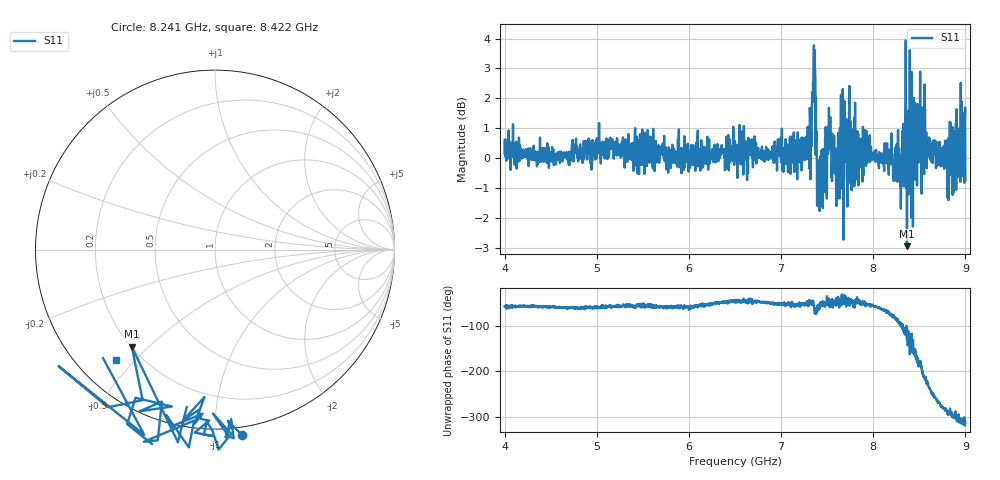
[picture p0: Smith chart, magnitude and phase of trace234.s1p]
! Created with skrf 1.8.0 (http://scikit-rf.org).
# Hz S RI R 50.0
!freq ReS11 ImS11
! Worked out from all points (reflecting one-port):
!   1601 points, 4 GHz to 9 GHz, reference 50 ohm
!   lowest |S11| = -2.9 dB at 8.366 GHz (marker M1), VSWR 5.96, Z = 10.1 - j22.2 ohm
!   phase of S11 starts at -57 deg and turns -258 deg over the sweep
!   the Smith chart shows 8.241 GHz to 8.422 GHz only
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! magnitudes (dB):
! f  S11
! 4 GHz  0.2
! 4.625 GHz  -0.1
! 5.25 GHz  0.1
! 5.875 GHz  0.1
! 6.5 GHz  0.6
! 7.125 GHz  0.3
! 7.303 GHz  0.3
! 7.359 GHz  1.9
! 7.397 GHz  -0.8
! 7.412 GHz  -0.1
! 7.472 GHz  -0.7
! 7.525 GHz  1.3
! 7.588 GHz  0.2
! 7.672 GHz  1.7
! 7.75 GHz  0.6
! 7.784 GHz  -0.3
! 7.925 GHz  0.9
! 8.316 GHz  -0.3
! 8.331 GHz  -0.9
! 8.366 GHz  -2.9
! 8.375 GHz  0.7
! 8.422 GHz  -1.7
! 8.447 GHz  1.9
! 8.522 GHz  1.4
! 8.606 GHz  0.5
! 8.797 GHz  0.3
! 8.972 GHz  0.0
! 9 GHz  -0.7
